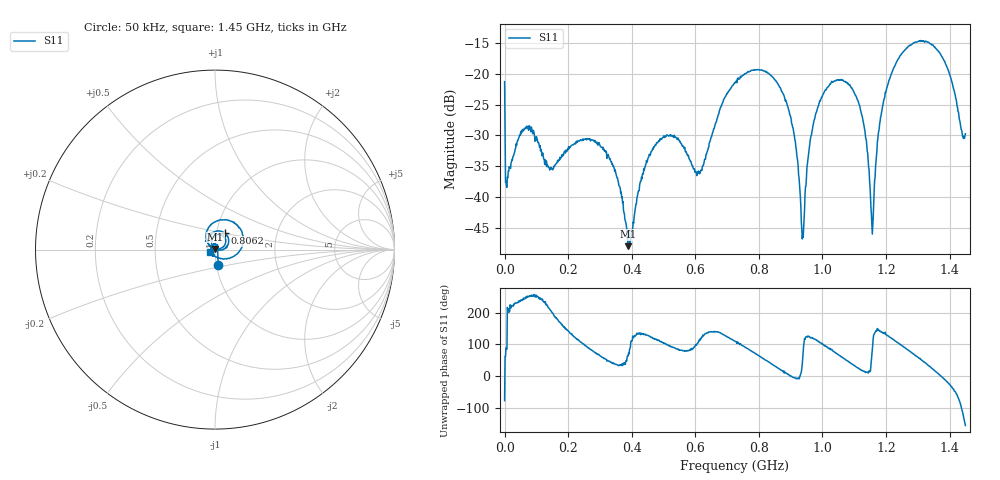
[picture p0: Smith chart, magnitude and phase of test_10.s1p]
! Created with skrf 1.11.0 (http://scikit-rf.org).
# Hz S RI R 50.0
!freq ReS11 ImS11
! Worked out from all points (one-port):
!   1001 points, 50 kHz to 1.45 GHz, reference 50 ohm
!   lowest |S11| = -47.9 dB at 388.6 MHz (marker M1), VSWR 1.01, Z = 50.2 + j0.36 ohm
!   |S11| at or under -10 dB: start of sweep to end of sweep
!   S11 on the Smith chart (normalised r, x): 50 kHz: 1.02, -0.17; 806.2 MHz: 1.09, +0.20; 1.45 GHz: 0.94, -0.02
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50000  0.0176 -0.0843
1.019965e7  -0.0127 -0.0067
7.109755e7  -0.0108 -0.0347
1.406952e8  -0.0144 -0.00947
1.812938e8  -0.0207 0.00637
2.813403e8  0.00666 0.028
3.625375e8  0.0101 0.00666
3.886366e8  0.00178 0.00359
4.582342e8  -0.0121 0.0181
5.437812e8  0.00234 0.0292
6.119289e8  -0.00552 0.0147
6.844264e8  -0.0392 0.0421
7.25025e8  -0.029 0.079
8.062222e8  0.0537 0.0925
8.627702e8  0.074 0.0315
9.062688e8  0.0368 -0.00215
9.381676e8  0.00256 0.00424
9.599169e8  -0.0146 0.0218
9.903658e8  -0.0177 0.0555
1.033864e9  0.0174 0.0836
1.087512e9  0.0594 0.0538
1.131011e9  0.0366 0.00971
1.15711e9  0.000958 0.00492
1.177409e9  -0.0281 0.0198
1.196259e9  -0.0445 0.0469
1.268756e9  0.0206 0.163
1.370253e9  0.146 0.00613
1.45e9  -0.0299 -0.0128
